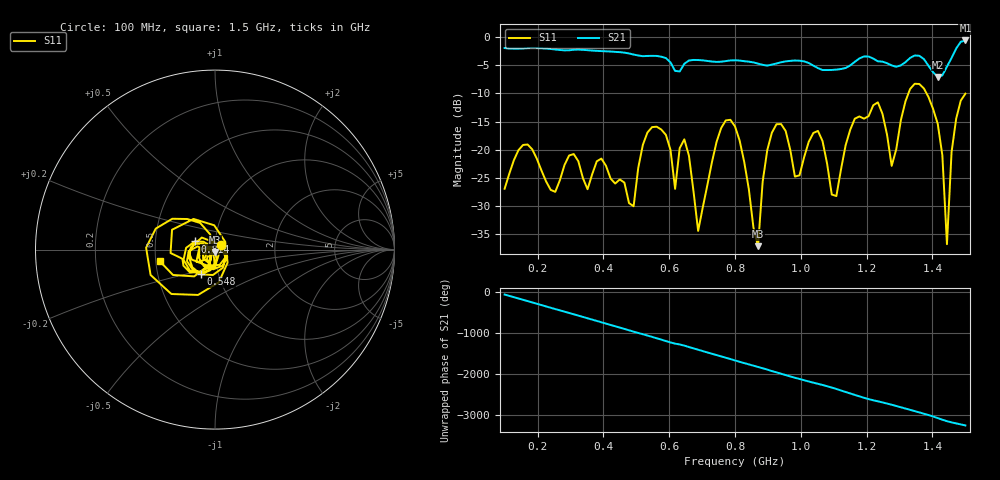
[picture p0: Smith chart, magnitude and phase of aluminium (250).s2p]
! NanoVNA-App
! Date: 2025-09-25 14:57:13
! Start: 100MHz Stop: 1,5GHz Points: 101
! S-Parameter data: F S11 S21 S12 S22
# Hz S RI R 50
!  Frequency  S11_Real  S11_Imag  S21_Real  S21_Imag  S12_Real  S12_Imag  S22_Real  S22_Imag
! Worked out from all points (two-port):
!   101 points, 100 MHz to 1.5 GHz, reference 50 ohm
!   highest |S21| = -0.57 dB at 1.5 GHz (marker M1); lowest = -7.1 dB at 1.416 GHz (marker M2)
!   |S21| within 3 dB of the highest: start of sweep to 582.5 MHz; 1.459 GHz to end of sweep (the widest 2 of 4)
!   lowest |S11| = -37.2 dB at 870 MHz (marker M3), VSWR 1.03, Z = 49.8 - j1.37 ohm
!   |S11| at or under -10 dB: start of sweep to 1.327 GHz; 1.382 GHz to end of sweep
!   S12 and S22 are empty: the file has one direction only
!   S11 on the Smith chart (normalised r, x): 100 MHz: 1.07, +0.06; 548 MHz: 0.82, -0.23; 814 MHz: 0.80, +0.07; 1.5 GHz: 0.53, -0.07
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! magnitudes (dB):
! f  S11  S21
! 100 MHz  -27.0  -1.9
! 338 MHz  -25.1  -2.2
! 492 MHz  -30.1  -3.1
! 548 MHz  -16.0  -3.3
! 576 MHz  -16.4  -3.5
! 618 MHz  -27.0  -6.0
! 646 MHz  -18.2  -4.7
! 688 MHz  -34.5  -4.1
! 800 MHz  -15.9  -4.1
! 814 MHz  -18.4  -4.1
! 870 MHz  -37.2  -4.7
! 912 MHz  -17.0  -4.9
! 982 MHz  -24.8  -4.1
! 1.038 GHz  -17.0  -5.0
! 1.108 GHz  -28.3  -5.8
! 1.234 GHz  -11.6  -4.3
! 1.276 GHz  -22.9  -5.0
! 1.346 GHz  -8.3  -3.2
! 1.416 GHz  -15.4  -7.1
! 1.444 GHz  -36.8  -5.2
! 1.458 GHz  -20.4  -3.7
! 1.5 GHz  -10.0  -0.6
